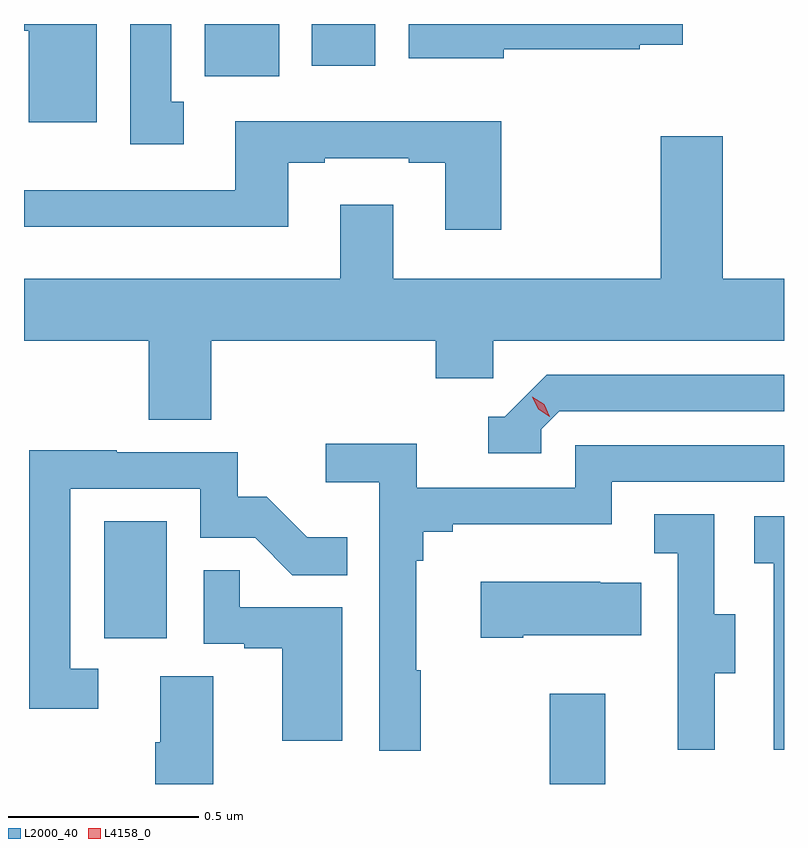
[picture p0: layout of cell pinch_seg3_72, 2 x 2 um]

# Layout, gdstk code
import gdstk
lib = gdstk.Library(unit=1e-6, precision=1e-09)
def R(c, l, rs):  # rectangles x0, y0, x1, y1
    for r in rs: c.add(gdstk.rectangle(r[:2], r[2:], *l))
def P(c, l, *ps):  # polygons
    for p in ps: c.add(gdstk.Polygon(p, *l))
L2000_40 = (2000, 40)
L4158_0 = (4158, 0)

pinch_seg3_72 = lib.new_cell('pinch_seg3_72')
R(pinch_seg3_72, L2000_40, [(1027.852,737.046,1027.999,737.284), (1026.68,737.43,1026.844,737.737), (1026.944,738.908,1027.141,739.046), (1027.226,738.936,1027.393,739.046)])
P(pinch_seg3_72, L2000_40, [(1026.889,738.842),(1026.856,738.842),(1026.856,739.046),(1026.749,739.046),(1026.749,738.729),(1026.889,738.729)],
  [(1026.661,739.046),(1026.47,739.046),(1026.47,739.028),(1026.482,739.028),(1026.482,738.788),(1026.661,738.788)],
  [(1027.732,738.98),(1028.09,738.98),(1028.09,738.992),(1028.203,738.992),(1028.203,739.046),(1027.481,739.046),(1027.481,738.956),(1027.732,738.956)],
  [(1027.725,738.79),(1027.025,738.79),(1027.025,738.609),(1026.469,738.609),(1026.469,738.512),(1027.165,738.512),(1027.165,738.681),(1027.261,738.681),(1027.261,738.693),(1027.481,738.693),(1027.481,738.681),(1027.577,738.681),(1027.577,738.504),(1027.725,738.504)],
  [(1026.962,738.212),(1027.553,738.212),(1027.553,738.114),(1027.704,738.114),(1027.704,738.212),(1028.469,738.212),(1028.469,738.376),(1028.308,738.376),(1028.308,738.751),(1028.144,738.751),(1028.144,738.376),(1027.441,738.376),(1027.441,738.571),(1027.301,738.571),(1027.301,738.376),(1026.469,738.376),(1026.469,738.212),(1026.797,738.212),(1026.797,738.004),(1026.962,738.004)],
  [(1027.83,737.979),(1027.878,738.027),(1028.469,738.027),(1028.469,738.123),(1027.845,738.123),(1027.734,738.012),(1027.691,738.012),(1027.691,737.916),(1027.83,737.916)],
  [(1027.513,737.345),(1027.501,737.345),(1027.501,737.633),(1027.52,737.633),(1027.52,737.71),(1027.597,737.71),(1027.597,737.729),(1028.016,737.729),(1028.016,737.841),(1028.469,737.841),(1028.469,737.937),(1027.92,737.937),(1027.92,737.826),(1027.502,737.826),(1027.502,737.942),(1027.263,737.942),(1027.263,737.84),(1027.404,737.84),(1027.404,737.133),(1027.513,737.133)],
  [(1026.664,737.349),(1026.591,737.349),(1026.591,737.823),(1026.933,737.823),(1026.933,737.694),(1027.077,737.694),(1027.175,737.596),(1027.319,737.596),(1027.319,737.695),(1027.215,737.695),(1027.108,737.802),(1027.032,737.802),(1027.032,737.919),(1026.713,737.919),(1026.713,737.924),(1026.483,737.924),(1026.483,737.244),(1026.664,737.244)],
  [(1028.287,737.338),(1028.341,737.338),(1028.341,737.493),(1028.286,737.493),(1028.286,737.756),(1028.127,737.756),(1028.127,737.653),(1028.19,737.653),(1028.19,737.349),(1028.189,737.349),(1028.189,737.136),(1028.287,737.136)],
  [(1028.469,737.751),(1028.391,737.751),(1028.391,737.627),(1028.442,737.627),(1028.442,737.136),(1028.469,737.136)],
  [(1027.306,737.511),(1027.037,737.511),(1027.037,737.609),(1026.942,737.609),(1026.942,737.415),(1027.049,737.415),(1027.049,737.403),(1027.148,737.403),(1027.148,737.16),(1027.306,737.16)],
  [(1027.783,737.438),(1028.093,737.438),(1028.093,737.575),(1027.985,737.575),(1027.985,737.578),(1027.671,737.578),(1027.671,737.431),(1027.783,737.431)],
  [(1026.967,737.33),(1026.827,737.33),(1026.827,737.156),(1026.815,737.156),(1026.815,737.046),(1026.967,737.046)])
P(pinch_seg3_72, L4158_0, [(1027.853,738.012),(1027.822,738.032),(1027.807,738.065),(1027.807,738.065),(1027.807,738.065),(1027.838,738.045),(1027.853,738.012),(1027.853,738.012)])

lib.write_gds('pinch_seg3_72.gds')
